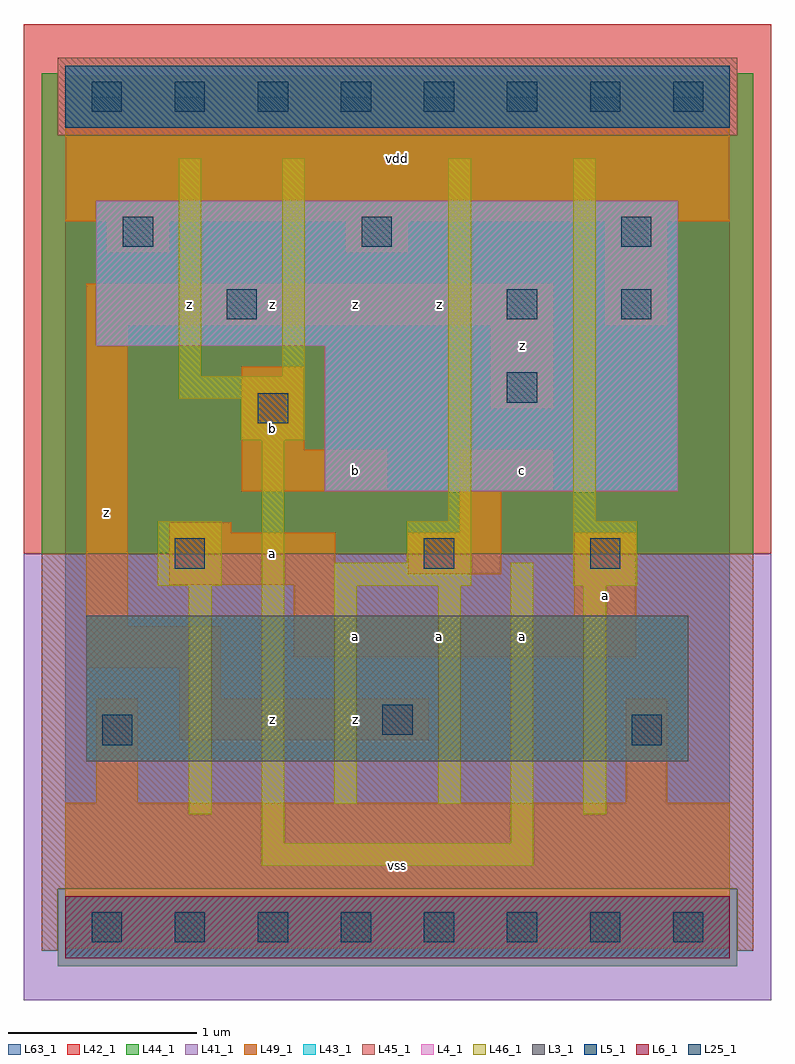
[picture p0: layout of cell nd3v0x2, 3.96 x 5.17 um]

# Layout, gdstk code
import gdstk
lib = gdstk.Library(unit=1e-6, precision=1e-09)
def R(c, l, rs):  # rectangles x0, y0, x1, y1
    for r in rs: c.add(gdstk.rectangle(r[:2], r[2:], *l))
def A(c, l, x, y, w, h, nx, ny, dx, dy):  # array of equal rectangles
    R(c, l, [(x+i*dx, y+j*dy, x+i*dx+w, y+j*dy+h) for i in range(nx) for j in range(ny)])
L3_1 = (3, 1)
L4_1 = (4, 1)
L5_1 = (5, 1)
L6_1 = (6, 1)
L25_1 = (25, 1)
L41_1 = (41, 1)
L42_1 = (42, 1)
L43_1 = (43, 1)
L44_1 = (44, 1)
L45_1 = (45, 1)
L46_1 = (46, 1)
L49_1 = (49, 1)
L63_1 = (63, 1)

nd3v0x2 = lib.new_cell('nd3v0x2')
R(nd3v0x2, L3_1, [(0.11,0.88,3.3,1.65)])
R(nd3v0x2, L4_1, [(1.375,2.31,3.245,3.08), (0.165,3.08,3.245,3.85)])
R(nd3v0x2, L5_1, [(0,4.235,3.52,4.565)])
R(nd3v0x2, L6_1, [(0,-0.165,3.52,0.165)])
A(nd3v0x2, L25_1, 0.14, -0.08, 0.16, 0.16, 8, 2, 0.44, 4.4)
R(nd3v0x2, L25_1, [(0.195,0.965,0.355,1.125), (3,0.965,3.16,1.125), (1.68,1.02,1.84,1.18), (0.58,1.9,0.74,2.06), (1.9,1.9,2.06,2.06), (2.78,1.9,2.94,2.06), (1.02,2.67,1.18,2.83), (2.34,2.78,2.5,2.94), (0.855,3.22,1.015,3.38), (2.34,3.22,2.5,3.38), (2.945,3.22,3.105,3.38), (0.305,3.605,0.465,3.765), (1.57,3.605,1.73,3.765), (2.945,3.605,3.105,3.765)])
R(nd3v0x2, L41_1, [(-0.22,-0.385,3.74,1.98)])
R(nd3v0x2, L42_1, [(-0.22,1.98,3.74,4.785)])
R(nd3v0x2, L43_1, [(0,-0.165,3.52,0.165), (0.11,0.88,3.3,1.65), (1.375,2.31,3.245,3.08), (0.165,3.08,3.245,3.85), (0,4.235,3.52,4.565)])
R(nd3v0x2, L44_1, [(-0.04,-0.205,3.56,0.205), (-0.125,1.98,3.645,4.195), (-0.125,4.195,-0.04,4.525), (3.56,4.195,3.645,4.525)])
R(nd3v0x2, L45_1, [(-0.125,-0.125,-0.04,0.205), (3.56,-0.125,3.645,0.205), (-0.125,0.205,3.645,1.98), (-0.04,4.195,3.56,4.605)])
R(nd3v0x2, L46_1, [(1.04,0.325,2.48,0.445), (1.04,0.445,1.16,2.58), (2.36,0.445,2.48,1.93), (0.655,0.6,0.775,1.81), (2.745,0.6,2.865,1.81), (1.425,0.655,1.545,1.81), (1.975,0.655,2.095,1.81), (0.49,1.81,0.83,2.15), (1.425,1.81,2.15,1.93), (2.69,1.81,3.03,2.15), (1.81,1.93,2.15,2.15), (2.03,2.15,2.15,4.075), (2.69,2.15,2.81,4.075), (0.93,2.58,1.27,2.8), (0.6,2.8,1.27,2.92), (0.6,2.92,0.72,4.075), (1.15,2.92,1.27,4.075)])
R(nd3v0x2, L49_1, [(0,-0.11,3.52,0.66), (0.165,0.66,0.385,1.21), (2.97,0.66,3.19,1.21), (0.605,0.99,1.925,1.21), (0.605,1.21,0.825,1.375), (0.11,1.375,0.825,1.595), (1.21,1.43,3.025,1.65), (0.11,1.595,0.33,3.19), (1.21,1.65,1.43,1.815), (2.695,1.65,3.025,2.09), (0.55,1.815,1.43,2.09), (1.815,1.87,2.31,2.09), (0.55,2.09,0.88,2.145), (2.09,2.09,2.31,2.31), (0.935,2.31,1.705,2.53), (2.09,2.31,2.585,2.53), (0.935,2.53,1.265,2.97), (2.255,2.75,2.585,3.19), (0.11,3.19,2.585,3.41), (2.86,3.19,3.19,3.74), (0.22,3.575,0.55,3.74), (1.485,3.575,1.815,3.74), (0,3.74,3.52,4.51)])
R(nd3v0x2, L63_1, [(0,0,3.52,4.4)])
nd3v0x2.add(gdstk.Label('z', (0.22,2.2), layer=49, texttype=1))
nd3v0x2.add(gdstk.Label('z', (1.1,1.1), layer=49, texttype=1))
nd3v0x2.add(gdstk.Label('a', (1.1,1.98), layer=49, texttype=1))
nd3v0x2.add(gdstk.Label('b', (1.1,2.64), layer=49, texttype=1))
nd3v0x2.add(gdstk.Label('z', (0.66,3.3), layer=49, texttype=1))
nd3v0x2.add(gdstk.Label('z', (1.1,3.3), layer=49, texttype=1))
nd3v0x2.add(gdstk.Label('vss', (1.76,0.33), layer=49, texttype=1))
nd3v0x2.add(gdstk.Label('z', (1.54,1.1), layer=49, texttype=1))
nd3v0x2.add(gdstk.Label('a', (1.54,1.54), layer=49, texttype=1))
nd3v0x2.add(gdstk.Label('a', (1.98,1.54), layer=49, texttype=1))
nd3v0x2.add(gdstk.Label('b', (1.54,2.42), layer=49, texttype=1))
nd3v0x2.add(gdstk.Label('z', (1.54,3.3), layer=49, texttype=1))
nd3v0x2.add(gdstk.Label('z', (1.98,3.3), layer=49, texttype=1))
nd3v0x2.add(gdstk.Label('vdd', (1.76,4.07), layer=49, texttype=1))
nd3v0x2.add(gdstk.Label('a', (2.42,1.54), layer=49, texttype=1))
nd3v0x2.add(gdstk.Label('c', (2.42,2.42), layer=49, texttype=1))
nd3v0x2.add(gdstk.Label('z', (2.42,3.08), layer=49, texttype=1))
nd3v0x2.add(gdstk.Label('a', (2.86,1.76), layer=49, texttype=1))

lib.write_gds('nd3v0x2.gds')
